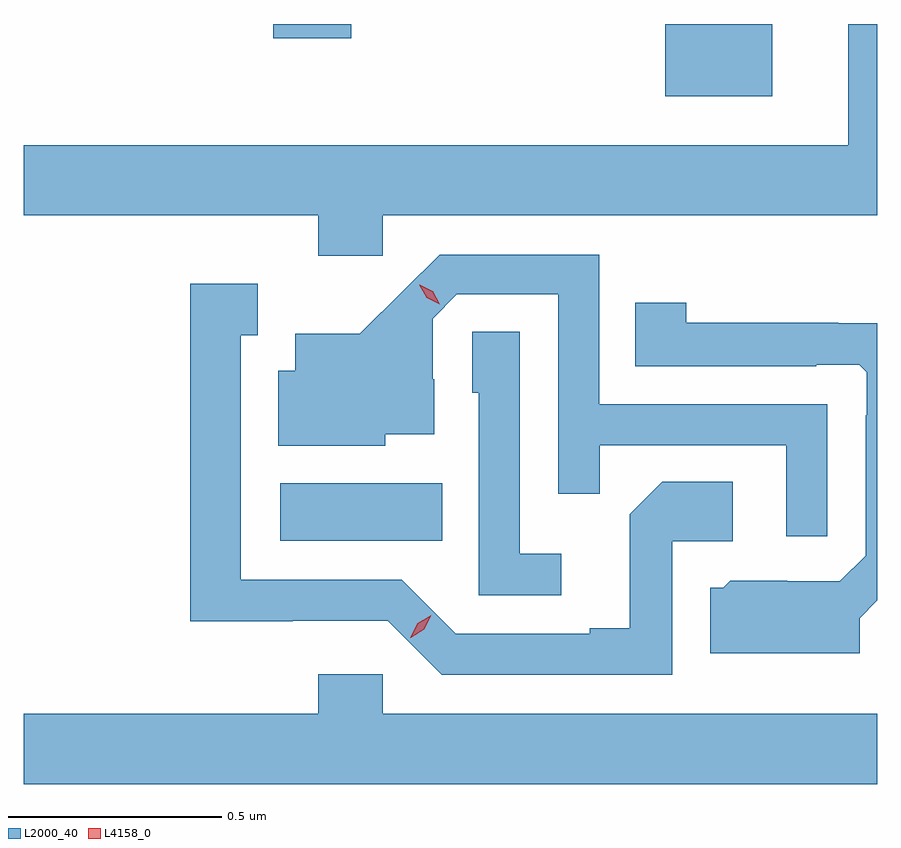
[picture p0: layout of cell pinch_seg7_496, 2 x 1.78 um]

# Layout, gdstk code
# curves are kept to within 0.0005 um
import gdstk
lib = gdstk.Library(unit=1e-6, precision=1e-09)
def R(c, l, rs):  # rectangles x0, y0, x1, y1
    for r in rs: c.add(gdstk.rectangle(r[:2], r[2:], *l))
def P(c, l, *ps):  # polygons
    for p in ps: c.add(gdstk.Polygon(p, *l))
L2000_40 = (2000, 40)
L4158_0 = (4158, 0)

pinch_seg7_496 = lib.new_cell('pinch_seg7_496')
R(pinch_seg7_496, L2000_40, [(180,1065.122,180.38,1065.256), (180.902,1066.163,181.153,1066.332), (179.984,1066.299,180.167,1066.332)])
P(pinch_seg7_496, L2000_40, [(179.399,1065.884),(180.089,1065.884),(180.089,1065.789),(180.24,1065.789),(180.24,1065.884),(181.399,1065.884),(181.399,1066.332),(181.331,1066.332),(181.331,1066.048),(179.399,1066.048)],
  [(181.281,1065.441),(180.747,1065.441),(180.747,1065.792),(180.374,1065.792),(180.187,1065.607),(180.035,1065.607),(180.035,1065.52),(179.996,1065.52),(179.996,1065.344),(180.246,1065.344),(180.246,1065.371),(180.361,1065.371),(180.361,1065.5),(180.357,1065.5),(180.357,1065.642),(180.414,1065.699),(180.651,1065.699),(180.651,1065.232),(180.749,1065.232),(180.749,1065.345),(181.185,1065.345),(181.185,1065.132),(181.281,1065.132)],
  [(180.918,1065.12),(181.06,1065.12),(181.06,1065.26),(180.895,1065.26),(180.819,1065.184),(180.819,1064.917),(180.725,1064.917),(180.725,1064.904),(180.411,1064.904),(180.285,1065.03),(179.908,1065.03),(179.908,1065.603),(179.947,1065.603),(179.947,1065.724),(179.79,1065.724),(179.79,1064.933),(180.03,1064.933),(180.03,1064.934),(180.252,1064.934),(180.378,1064.808),(180.918,1064.808)],
  [(181.357,1064.94),(181.399,1064.982),(181.399,1065.631),(181.307,1065.631),(181.307,1065.632),(180.951,1065.632),(180.951,1065.679),(180.832,1065.679),(180.832,1065.531),(181.256,1065.531),(181.256,1065.534),(181.356,1065.534),(181.374,1065.516),(181.374,1065.416),(181.371,1065.416),(181.371,1065.087),(181.311,1065.027),(181.188,1065.027),(181.188,1065.028),(181.054,1065.028),(181.038,1065.012),(181.007,1065.012),(181.007,1064.858),(181.357,1064.858)],
  [(180.658,1065.091),(180.561,1065.091),(180.561,1065.611),(180.45,1065.611),(180.45,1065.468),(180.465,1065.468),(180.465,1064.994),(180.658,1064.994)],
  [(181.399,1064.716),(180.24,1064.716),(180.24,1064.809),(180.089,1064.809),(180.089,1064.716),(179.399,1064.716),(179.399,1064.552),(181.399,1064.552)])
P(pinch_seg7_496, L4158_0, [(180.374,1065.676),(180.343,1065.691),(180.326,1065.721),(180.326,1065.721),(180.327,1065.721),(180.357,1065.706),(180.374,1065.676),(180.374,1065.676)],
  [(180.305,1064.895),(180.305,1064.895),(180.322,1064.928),(180.354,1064.947),(180.354,1064.947),(180.354,1064.947),(180.337,1064.914),(180.306,1064.895)])

lib.write_gds('pinch_seg7_496.gds')
